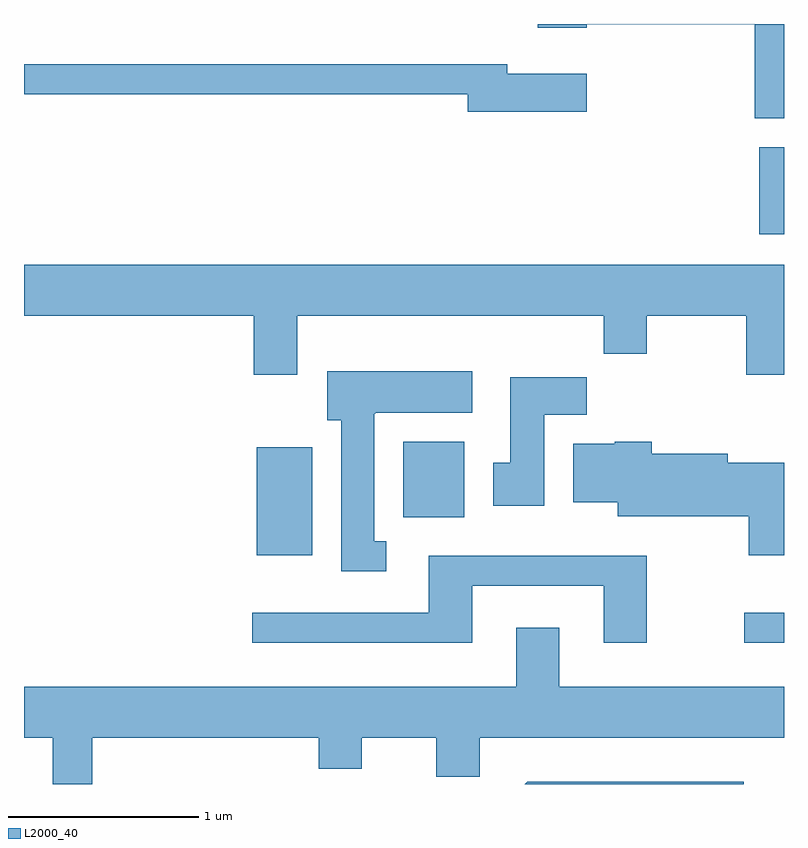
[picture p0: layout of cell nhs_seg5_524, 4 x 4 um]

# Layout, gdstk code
import gdstk
lib = gdstk.Library(unit=1e-6, precision=1e-09)
def R(c, l, rs):  # rectangles x0, y0, x1, y1
    for r in rs: c.add(gdstk.rectangle(r[:2], r[2:], *l))
def P(c, l, *ps):  # polygons
    for p in ps: c.add(gdstk.Polygon(p, *l))
L2000_40 = (2000, 40)

nhs_seg5_524 = lib.new_cell('nhs_seg5_524')
R(nhs_seg5_524, L2000_40, [(203.403,1492.816,203.611,1492.974), (200.836,1493.276,201.129,1493.844), (201.606,1493.476,201.929,1493.874), (203.481,1494.966,203.611,1495.424)])
P(nhs_seg5_524, L2000_40, [(203.611,1496.072),(202.316,1496.072),(202.316,1496.051),(202.574,1496.051),(202.574,1496.071),(203.456,1496.071),(203.456,1495.576),(203.611,1495.576)],
  [(202.574,1495.809),(202.154,1495.809),(202.154,1495.859),(199.611,1495.859),(199.611,1495.701),(201.946,1495.701),(201.946,1495.611),(202.574,1495.611)],
  [(201.049,1494.536),(202.661,1494.536),(202.661,1494.336),(202.889,1494.336),(202.889,1494.536),(203.411,1494.536),(203.411,1494.226),(203.611,1494.226),(203.611,1494.804),(199.611,1494.804),(199.611,1494.536),(200.821,1494.536),(200.821,1494.226),(201.049,1494.226)],
  [(201.518,1493.349),(201.454,1493.349),(201.454,1494.02),(201.46,1494.02),(201.46,1494.026),(201.969,1494.026),(201.969,1494.244),(201.206,1494.244),(201.206,1493.986),(201.281,1493.986),(201.281,1493.191),(201.518,1493.191)],
  [(202.349,1494.016),(202.574,1494.016),(202.574,1494.214),(202.171,1494.214),(202.171,1493.764),(202.081,1493.764),(202.081,1493.536),(202.349,1493.536)],
  [(203.611,1493.764),(203.314,1493.764),(203.314,1493.809),(202.914,1493.809),(202.914,1493.874),(202.72,1493.874),(202.72,1493.864),(202.501,1493.864),(202.501,1493.556),(202.736,1493.556),(202.736,1493.481),(203.426,1493.481),(203.426,1493.276),(203.611,1493.276)],
  [(201.969,1493.116),(202.661,1493.116),(202.661,1492.816),(202.889,1492.816),(202.889,1493.274),(201.741,1493.274),(201.741,1492.974),(200.813,1492.974),(200.813,1492.816),(201.969,1492.816)],
  [(199.969,1492.316),(201.161,1492.316),(201.161,1492.151),(201.389,1492.151),(201.389,1492.316),(201.781,1492.316),(201.781,1492.111),(202.009,1492.111),(202.009,1492.316),(203.611,1492.316),(203.611,1492.584),(202.429,1492.584),(202.429,1492.894),(202.201,1492.894),(202.201,1492.584),(199.611,1492.584),(199.611,1492.316),(199.761,1492.316),(199.761,1492.072),(199.969,1492.072)],
  [(203.398,1492.084),(202.259,1492.084),(202.247,1492.072),(203.398,1492.072)])

lib.write_gds('nhs_seg5_524.gds')
